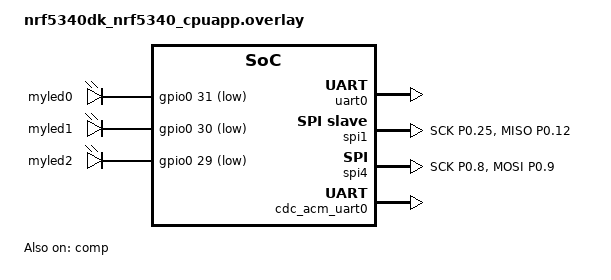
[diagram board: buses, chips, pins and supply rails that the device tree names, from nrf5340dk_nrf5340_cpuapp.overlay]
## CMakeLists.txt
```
cmake_minimum_required(VERSION 3.20.0)
find_package(Zephyr REQUIRED HINTS $ENV{ZEPHYR_BASE})

project(Nordic)

file(GLOB_RECURSE LIBCORRECT_FILES_C "libcorrect/*.c")
file(GLOB_RECURSE LIBCORRECT_FILES_H "libcorrect/*.h")


target_sources(app PRIVATE 
                            src/main.c 
                            src/peripheral-controllers/signals/spim_controller.h src/peripheral-controllers/signals/spim_controller.c 
                            src/peripheral-controllers/signals/gpiote_controller.h src/peripheral-controllers/signals/gpiote_controller.c 
                            src/peripheral-controllers/timing/timer_controller.h src/peripheral-controllers/timing/timer_controller.c 
                            src/peripheral-controllers/timing/dppi_controller.h src/peripheral-controllers/timing/dppi_controller.c 
                            src/common.h src/common.c 
                            src/peripheral-controllers/interfacing/gpio_controller.h src/peripheral-controllers/interfacing/gpio_controller.c 
                            src/buffer.h src/buffer.c 
                            src/manchester.h src/manchester.c
                            src/peripheral-controllers/input-detection/adc_controller.h src/peripheral-controllers/input-detection/adc_controller.c
                            src/peripheral-controllers/signals/spis_controller.h src/peripheral-controllers/signals/spis_controller.c
                            src/peripheral-controllers/interfacing/uarte_controller.h src/peripheral-controllers/interfacing/uarte_controller.c
                            src/peripheral-controllers/input-detection/lpcomp_controller.h src/peripheral-controllers/input-detection/lpcomp_controller.c
                            ${LIBCORRECT_FILES_C}
                            ${LIBCORRECT_FILES_H}
                )
```

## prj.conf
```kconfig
CONFIG_GPIO=y

CONFIG_NRFX_SPIS1=y
CONFIG_NRFX_SPIS2=n
CONFIG_NRFX_SPIS3=n
CONFIG_NRFX_SPIM4=y

CONFIG_NRFX_TIMER0=n
CONFIG_NRFX_TIMER1=y
CONFIG_NRFX_TIMER2=n
CONFIG_NRFX_GPIOTE=y
CONFIG_NRFX_DPPI=y
CONFIG_NRFX_SAADC=n
CONFIG_NRFX_LPCOMP=y

CONFIG_PWM=n
CONFIG_NRFX_QSPI=n
CONFIG_NRFX_TWIM0=n
CONFIG_NRFX_TWIM1=n
CONFIG_NRFX_TWIM2=n
CONFIG_NRFX_TWIM3=n
CONFIG_NRFX_UARTE0=y
CONFIG_NRFX_UARTE1=n

# Power efficiency:
CONFIG_PM=y
CONFIG_PM_DEVICE=y
CONFIG_PM_DEVICE_RUNTIME=y
CONFIG_REGULATOR=y

CONFIG_BOARD_ENABLE_DCDC_NET=y
CONFIG_BOARD_ENABLE_DCDC_APP=y
CONFIG_BOARD_ENABLE_DCDC_HV=y


# User Interface:
CONFIG_STDOUT_CONSOLE=y
CONFIG_USB_DEVICE_STACK=y
CONFIG_USB_DEVICE_PRODUCT="Zephyr CDC ACM sample"
CONFIG_USB_DEVICE_PID=0x0001
CONFIG_LOG=y
CONFIG_USB_DRIVER_LOG_LEVEL_ERR=y
CONFIG_USB_DEVICE_LOG_LEVEL_ERR=y
CONFIG_SERIAL=y
CONFIG_UART_INTERRUPT_DRIVEN=y
CONFIG_UART_LINE_CTRL=y
CONFIG_USB_DEVICE_INITIALIZE_AT_BOOT=n
```

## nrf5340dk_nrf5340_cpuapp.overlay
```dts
// To get started, press Ctrl+Space to bring up the completion menu and view the available nodes.

// You can also use the buttons in the sidebar to perform actions on nodes.
// Actions currently available include:

// * Enabling / disabling the node
// * Adding the bus to a bus
// * Removing the node
// * Connecting ADC channels

// For more help, browse the DeviceTree documentation at https://docs.zephyrproject.org/latest/guides/dts/index.html
// You can also visit the nRF DeviceTree extension documentation at https://nrfconnect.github.io/vscode-nrf-connect/devicetree/nrfdevicetree.html


&uart0 {
    status = "okay";
};

&uart1 {
    status = "disabled";
};


&pinctrl {
    spis1_default: spis1_default {
        group1 {
            psels = <NRF_PSEL(SPIS_SCK, 0, 25)>,
                <NRF_PSEL(SPIS_MISO, 0, 12)>;
        };
    };

    spi_master_default: spi_master_default {
        group1 {
            psels = <NRF_PSEL(SPIM_SCK, 0, 8)>,
                <NRF_PSEL(SPIM_MOSI, 0, 9)>;
        };
    };
};

&spi1 {
    status = "okay";
    compatible = "nordic,nrf-spis";
    pinctrl-0 = <&spis1_default>;
    def-char = <0x00>;
};

&spi4 {
    status = "okay";
    compatible = "nordic,nrf-spim";
    pinctrl-0 = <&spi_master_default>;
};

&i2c1 {
    status = "disabled";
};

&comp {
    compatible = "nordic,nrf-lpcomp";
    status = "okay";
};

// User Interface:
&zephyr_udc0 {
	cdc_acm_uart0 {
		compatible = "zephyr,cdc-acm-uart";
	};
};

/ {
    aliases {
            shut1 = &myled0;
            shut2 = &myled1;
            shut3 = &myled2;
    };

    leds {
            compatible = "gpio-leds";
            myled0: led_0 {
                    gpios = <&gpio0 31 GPIO_ACTIVE_LOW>;
            };
            myled1: led_1 {
                gpios = <&gpio0 30 GPIO_ACTIVE_LOW>;
            };
            myled2: led_2 {
                gpios = <&gpio0 29 GPIO_ACTIVE_LOW>;
            };
                
        };
};
```

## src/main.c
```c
#include <zephyr/kernel.h>
#include <zephyr/pm/device.h>
#include <zephyr/pm/pm.h>
#include <zephyr/pm/policy.h>
#include <zephyr/drivers/gpio.h>
#include <nrfx_clock.h>
#include <zephyr/device.h>
#include <zephyr/sys/util.h>
#include <inttypes.h>
#include <nrf5340_application.h>

#include "peripheral-controllers/signals/spim_controller.h"
#include "peripheral-controllers/signals/spis_controller.h"
#include "peripheral-controllers/timing/timer_controller.h"
#include "peripheral-controllers/interfacing/gpio_controller.h"
#include "peripheral-controllers/signals/gpiote_controller.h"
#include "peripheral-controllers/timing/dppi_controller.h"
#include "manchester.h"
#include "peripheral-controllers/input-detection/adc_controller.h"
#include "peripheral-controllers/interfacing/uarte_controller.h"
#include "peripheral-controllers/input-detection/lpcomp_controller.h"

// Message setup
char message[] = "Hello World!";
uint8_t length_message = 12;

// char message[] = "Testing right now!";
// uint8_t length_message = 18;

// #define LED

// Speed configuration
#define SINGLE_SPEED 8
#ifdef HIGH_SPEED
#define DOUBLE_SPEED 16
#else
#define DOUBLE_SPEED 8
#endif

// GPIO Pin assignments
#define LED_CTRL 30
#define CSN_PIN  6

#define SCTRL_PIN_CLK  8
#define SCTRL_PIN 9

#define DRC_S_PIN_CLK  25
#define DRC_S_CSN_PIN  26
#define DRC_S_PIN 12

// Shutdown pin
#define Shutdown1 31

// Function prototypes for handling timers and SPI. Also the functions to turn off/on the LED. 
static void timer_handler(nrf_timer_event_t event_type, void * p_context);
static void spis_handler(nrfx_spis_evt_t const * p_event, void * p_context);
void turn_off_DMD(void);
void turn_on_DMD(void);
void turn_off_LED(void);
void turn_on_LED(void);
void turn_DMD_fully_off(void);

const nrfx_timer_t timer1 = NRFX_TIMER_INSTANCE(1);

timer_instance timer_trigger_dmd_toggle = TIMER_DEFAULT_INSTANCE(NRFX_TIMER_INSTANCE(1), NRF_TIMER_CC_CHANNEL0, NRF_TIMER_SHORT_COMPARE0_CLEAR_MASK, NRF_TIMER_EVENT_COMPARE0);

nrfx_spis_t spis1 = NRFX_SPIS_INSTANCE(1);
spis_instance spis_drc_s = SPIS_DEFAULT_INSTANCE(DRC_S_PIN, DRC_S_PIN_CLK, DRC_S_CSN_PIN, spis_handler, &spis1, tx_sac_b_buffer);

nrfx_spim_t spim_sctrl = NRFX_SPIM_INSTANCE(4);
spim_instance_config spim_sctrl_config = SPIM_DEFAULT_INSTANCE(SCTRL_PIN, SCTRL_PIN_CLK, DOUBLE_SPEED, NULL, NRFX_SPIM_FLAG_REPEATED_XFER | NRFX_SPIM_FLAG_NO_XFER_EVT_HANDLER | NRFX_SPIM_FLAG_HOLD_XFER);

uint8_t dppi_channel_spi;
uint8_t led_channel; 
uint8_t loadb_channel;
uint8_t dppi_loadb_channel;

// Flags to manage LED and DMD states
bool led_paused = true;
volatile bool dmd_paused = true;

bool end_of_message = false;

#define SW0_NODE	DT_ALIAS(sw0)
static struct gpio_dt_spec button = GPIO_DT_SPEC_GET_OR(SW0_NODE, gpios, {0});
static struct gpio_callback cb;

#define SHUT1 DT_ALIAS(shut1)
static const struct gpio_dt_spec shdn1 = GPIO_DT_SPEC_GET(SHUT1, gpios);

#define SHUT2 DT_ALIAS(shut2)
static const struct gpio_dt_spec shdn2 = GPIO_DT_SPEC_GET(SHUT2, gpios);

#define SHUT3 DT_ALIAS(shut3)
static const struct gpio_dt_spec shdn3 = GPIO_DT_SPEC_GET(SHUT3, gpios);


/**
 * Interrupt handler of SPIS instance.
 * Toggles buffers for DMD, and sets SPIS buffer.
 */
static void spis_handler(nrfx_spis_evt_t const * p_event, void * p_context)
{
    if(p_event->evt_type == NRFX_SPIS_XFER_DONE) {
        spis_instance* temp = p_context;
        
        toggle_sent_signal(LED_CTRL);
        nrfx_spis_buffers_set(temp->spis_inst, temp->tx_buffer, SAC_B_BUFFER_SIZE, NULL, 0);
    }
}


/**
 * Interrupt Handler of Timer instance.
 * Sets new compare value for Timer, tests if DMD needs to be turned on/off, 
 * and selects new compare value.
*/
static void timer_handler(nrf_timer_event_t event_type, void * p_context)
{
    if(event_type == NRF_TIMER_EVENT_COMPARE0)  
    {
        nrfx_timer_extended_compare(&timer_trigger_dmd_toggle.timer, NRF_TIMER_CC_CHANNEL0, factor_periods[current_period_index], NRF_TIMER_SHORT_COMPARE0_CLEAR_MASK, true);   
        end_of_message = toggle_dmd(messages_paused);
    }
}

void button_pressed(const struct device *dev, struct gpio_callback *cb, uint32_t pins)
{
    messages_paused = false;  
}

/**
 * Turns off all peripherals that are used to send signals to DMD.
 * Can occur to pause in between messages, or because PD senses too little light.
*/
void turn_off_DMD(void)
{
    if(dmd_paused) return;
    dmd_paused = true;

    nrfx_timer_pause(&timer_trigger_dmd_toggle.timer);
    nrfx_timer_disable(&timer_trigger_dmd_toggle.timer);

    nrfx_gpiote_out_task_disable(CSN_PIN);

    // //! DRC_STROBE - SPIM4 + DPPI + TIMER
    nrfx_spim_abort(&spim_sctrl);
    nrfx_gppi_channel_endpoints_clear(dppi_loadb_channel, nrfx_spim_start_task_address_get(&spim_sctrl), nrfx_timer_event_address_get(&timer1, NRF_TIMER_EVENT_COMPARE0));
    disable_dppi(dppi_channel_spi, nrfx_gpiote_set_task_address_get(CSN_PIN), nrfx_spim_end_event_address_get(&spim_sctrl));
    disable_dppi(dppi_loadb_channel, nrfx_gpiote_clr_task_address_get(CSN_PIN), nrfx_spim_start_task_address_get(&spim_sctrl));
}

/**
 * Turns on all peripherals that are used to send signals to DMD.
*/
void turn_on_DMD(void)
{
    if(!dmd_paused) return;
    dmd_paused = false;

    set_timer(timer_trigger_dmd_toggle, US_BETWEEN_BITS, true);

    //! DRC_STROBE - SPIM4 + DPPI + TIMER
    spim_change_buffer(spim_sctrl, spim_sctrl_config, tx_drc_b_buffer, DATA_BUFFER_SIZE);

    setup_dppi(dppi_loadb_channel, nrfx_spim_start_task_address_get(&spim_sctrl), nrfx_timer_event_address_get(&timer1, NRF_TIMER_EVENT_COMPARE0));

    setup_dppi(dppi_loadb_channel, nrfx_gpiote_clr_task_address_get(CSN_PIN), nrfx_spim_start_task_address_get(&spim_sctrl));
    setup_dppi(dppi_channel_spi, nrfx_gpiote_set_task_address_get(CSN_PIN), nrfx_spim_end_event_address_get(&spim_sctrl));

    //! DRC_BUS - SPIS + DPPI + GPIOTE
    nrfx_gpiote_out_task_enable(CSN_PIN);

    if(!nrfx_timer_is_enabled(&timer1)) nrfx_timer_enable(&timer1);
}

void turn_DMD_fully_off(void)
{
    nrfx_gppi_channel_endpoints_clear(dppi_loadb_channel, nrfx_spim_start_task_address_get(&spim_sctrl), nrfx_timer_event_address_get(&timer1, NRF_TIMER_EVENT_COMPARE0));
    disable_dppi(dppi_channel_spi, nrfx_gpiote_set_task_address_get(CSN_PIN), nrfx_spim_end_event_address_get(&spim_sctrl));
    disable_dppi(dppi_loadb_channel, nrfx_gpiote_clr_task_address_get(CSN_PIN), nrfx_spim_start_task_address_get(&spim_sctrl));

    nrfx_timer_pause(&timer_trigger_dmd_toggle.timer);
    nrfx_timer_disable(&timer_trigger_dmd_toggle.timer);
    nrfx_timer_uninit(&timer_trigger_dmd_toggle.timer);

    nrfx_spim_abort(&spim_sctrl);
    nrfx_spim_uninit(&spim_sctrl);
    nrfx_spis_uninit(&spis1);

    nrfx_gpiote_out_task_disable(CSN_PIN);
    nrfx_gpiote_pin_uninit(CSN_PIN);
    nrfx_gpiote_uninit();
}

void Power_up_DMD_sequence(void) {
    int ret;

    // Initialize the shutdown pins
    if (!gpio_is_ready_dt(&shdn1)) {
		return 0;
	}

	ret = gpio_pin_configure_dt(&shdn1, GPIO_OUTPUT_ACTIVE);
	if (ret < 0) {
		return 0;
	}

    if (!gpio_is_ready_dt(&shdn2)) {
		return 0;
	}

	ret = gpio_pin_configure_dt(&shdn2, GPIO_OUTPUT_ACTIVE);
	if (ret < 0) {
		return 0;
	}

    if (!gpio_is_ready_dt(&shdn3)) {
		return 0;
	}
    ret = gpio_pin_configure_dt(&shdn3, GPIO_OUTPUT_ACTIVE);
	if (ret < 0) {
		return 0;
	}

    if (ret < 0) {
		return 0;
	}

    // Wait till VCC is stable before activating the shutdown pins
    k_msleep(5000);

    ret = gpio_pin_toggle_dt(&shdn1);
    if (ret < 0) {
        return 0;
    }

    ret = gpio_pin_toggle_dt(&shdn2);
    if (ret < 0) {
        return 0;
    }

    ret = gpio_pin_toggle_dt(&shdn3);
    if (ret < 0) {
        return 0;
    }

    // Wait till the DMD is correctly started before transmitting data
    k_msleep(5000);
}

int main(void)
{

    // //! Setup for the shutdown pin to for the correct start of the DMD
    Power_up_DMD_sequence();

    //! Set clock to high frequency
    #ifdef HIGH_SPEED
    nrfx_clock_divider_set(NRF_CLOCK_DOMAIN_HFCLK, NRF_CLOCK_HFCLK_DIV_1);
    #endif

    #ifdef USER_INTERFACE
    //! Start User Interface
    start_uarte();
    #endif   

    //! Construct frame, and shift buffers
    construct_frame(message, length_message);
    shift_right(tx_sac_b_buffer, SAC_B_BUFFER_SIZE, 2);

    //! Setup button
    setup_gpio_dt(&button, GPIO_INPUT);
    setup_button(&button, button_pressed, &cb);
    
    // configure_lpcomp();
    // ! Enable peripheral interrupts
    #if defined(__ZEPHYR__)
        IRQ_DIRECT_CONNECT(NRFX_IRQ_NUMBER_GET(NRF_SPIS_INST_GET(1)), IRQ_PRIO_LOWEST,
                    NRFX_SPIS_INST_HANDLER_GET(1), 0);
        IRQ_DIRECT_CONNECT(NRFX_IRQ_NUMBER_GET(NRF_TIMER_INST_GET(1)), IRQ_PRIO_LOWEST,
                    NRFX_TIMER_INST_HANDLER_GET(1), 0);       
    #endif

    //! Initialise peripherals
    nrfx_gpiote_init(GPIOTE_INTERRUPT_PRIORITY);
    
    //! TRIGGER - Set up trigger for US_BETWEEN_BITS clock pulses
    init_timer(timer1, timer_handler, 1000000);
    set_timer(timer_trigger_dmd_toggle, US_BETWEEN_BITS, true);

    //! SCTRL - SPIM4
    spim_init(spim_sctrl, spim_sctrl_config, tx_drc_b_buffer, DATA_BUFFER_SIZE);

    setup_gpiote_toggle(CSN_PIN, NRF_GPIOTE_INITIAL_VALUE_HIGH);
    nrfx_gpiote_out_task_trigger(CSN_PIN);

    // nrfx_lpcomp_enable();
    spis_init(spis1,  spis_drc_s, tx_sac_b_buffer, SAC_B_BUFFER_SIZE);
    dppi_loadb_channel = allocate_dppi_channel();
    dppi_channel_spi = allocate_dppi_channel();
    if(dmd_on) turn_on_DMD();  

    k_msleep(1000);
    // messages_paused = false;
    char rgb_c[4];
    rgb_c[0] = '#';
    rgb_c[1] = 254;
    rgb_c[2] = 0;
    rgb_c[3] = 0;

    // If RGB setting is not on it will just sleep all the time (Except for all the interrupts)
    while(!rgb_case) {
        k_msleep(2000);
    }
    printk("Hello RGB!\n");

    while (true) {
        while(rgb_c[1] > 0) {
            while(!messages_paused){k_usleep(100);}
            construct_frame(rgb_c, 4);
            rgb_c[1] -= 2;
            rgb_c[2] += 2;
        }
        while(rgb_c[2] > 0) {
            while(!messages_paused){k_usleep(100);}
            construct_frame(rgb_c, 4);
            rgb_c[2] -= 2;
            rgb_c[3] += 2;
        }
        while(rgb_c[3] > 0) {
            while(!messages_paused){k_usleep(100);}
            construct_frame(rgb_c, 4);
            rgb_c[3] -= 2;
            rgb_c[1] += 2;
        }
    }

    return 0;
}
```

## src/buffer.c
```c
#include "buffer.h"

uint8_t tx_sctrl_buffer[] = {0xFF, 0xF3, 0x43};
uint8_t tx_loadb_buffer[] = {0xFF, 0x7F, 0xFF};

//                                               3                 6                                         
uint8_t tx_drc_b_0[] =      {0xFF, 0xFF, 0xFF, 0x86, 0x7F, 0xFF, 0x80, 0x7F, 0xFE, 0x05, 0xFF, 0xFF, 0xFF, 0XFF}; 
uint8_t tx_drc_b_1[] =      {0XFF, 0xFF, 0xFF, 0xC6, 0x7F, 0xFF, 0xC0, 0x7F, 0xFF, 0x05, 0xFF, 0xFF, 0xFF, 0XFF}; 
uint8_t tx_drc_b_buffer[] = {0XFF, 0xFF, 0xFF, 0x86, 0x7F, 0xFF, 0x80, 0x7F, 0xFE, 0x05, 0xFF, 0xFF, 0xFF, 0XFF};
                                                                                                    
//                                  1                                                           11
uint8_t tx_drc_s_0[] =      {0xFF, 0x01, 0xFF, 0xFF, 0xFF, 0xFF, 0xFF, 0xFF, 0xFF, 0xFF, 0xFF, 0xFE, 0x01, 0XFF}; 
uint8_t tx_drc_s_1[] =      {0XFF, 0x81, 0xFF, 0xFF, 0xFF, 0xFF, 0xFF, 0xFF, 0xFF, 0xFF, 0xFF, 0xFF, 0x01, 0XFF}; 
uint8_t tx_drc_s_buffer[] = {0XFF, 0x01, 0xFF, 0xFF, 0xFF, 0xFF, 0xFF, 0xFF, 0xFF, 0xFF, 0xFF, 0xFE, 0x01, 0XFF}; 

uint8_t tx_sac_b_buffer[] = {0x00, 0x00, 0x00, 0x80, 0x00, 0x00, 0x80, 0x00, 0x02, 0x00, 0x00, 0x00, 0x00, 0x00};


void shift_right(uint8_t *arr, int size, int shift) 
{
    while (shift--) {
        for (int i = size - 1; i > 0; --i) {
            int carry = (arr[i-1] & 1) ? 0x80 : 0;
            arr[i] = carry | (arr[i] >> 1);
        }
		arr[0] = (arr[0] >> 1) | 0b00000000;
    }
} 
```

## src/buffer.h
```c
#pragma once

#include <inttypes.h>

#define RESET_BUFFER_SIZE 5
#define SCTRL_BUFFER_SIZE 3
#define LOADB_BUFFER_SIZE 3
#define DATA_BUFFER_SIZE 14
#define SAC_B_BUFFER_SIZE 14

extern uint8_t tx_sctrl_buffer[SCTRL_BUFFER_SIZE];
extern uint8_t tx_loadb_buffer[LOADB_BUFFER_SIZE];

extern uint8_t tx_drc_b_0[DATA_BUFFER_SIZE];
extern uint8_t tx_drc_b_1[DATA_BUFFER_SIZE];
extern uint8_t tx_drc_b_buffer[DATA_BUFFER_SIZE];
                                                                                                    
extern uint8_t tx_drc_s_0[DATA_BUFFER_SIZE];
extern uint8_t tx_drc_s_1[DATA_BUFFER_SIZE];
extern uint8_t tx_drc_s_buffer[DATA_BUFFER_SIZE];

extern uint8_t tx_sac_b_buffer[SAC_B_BUFFER_SIZE];

/**
 * @brief Shifts the array to the right. 
 *        1's are shifted in from the left.
 * 
 * @param[in] arr   The array that will be shifted.
 * @param[in] size  The size arr.
 * @param[in] shift The array is shifted by this amount.
 */
void shift_right(uint8_t *arr, int size, int shift);
```

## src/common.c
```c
#include "common.h"

volatile bool sending_0 = true;

void toggle_sent_signal(nrfx_gpiote_pin_t led_pin)
{
    if (sending_0)
    {
        if(nrfx_gpiote_in_is_set(led_pin)) nrfx_gpiote_clr_task_trigger(led_pin);
        sending_0 = false;
        tx_drc_b_buffer[3] = tx_drc_b_0[3];
        tx_drc_b_buffer[6] = tx_drc_b_0[6];
        tx_drc_b_buffer[8] = tx_drc_b_0[8];
    } 
    else 
    {
        if(!nrfx_gpiote_in_is_set(led_pin)) nrfx_gpiote_set_task_trigger(led_pin);

        sending_0 = true;
        tx_drc_b_buffer[3] = tx_drc_b_1[3];
        tx_drc_b_buffer[6] = tx_drc_b_1[6];
        tx_drc_b_buffer[8] = tx_drc_b_1[8];
    }
}

void setup_button(struct gpio_dt_spec *button, gpio_callback_handler_t ih, struct gpio_callback *cb)
{   
    int ret = gpio_pin_interrupt_configure_dt(button, GPIO_INT_EDGE_TO_ACTIVE);
	if (ret != 0) {
		printk("Error failed to configure button interrupt");
		return;
	}

	gpio_init_callback(cb, ih, BIT(button->pin));
	gpio_add_callback(button->port, cb);
}
```

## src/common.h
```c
#pragma once 

#include <inttypes.h>
#include <zephyr/kernel.h>
#include <zephyr/drivers/gpio.h>
#include <nrfx_clock.h>
#include <zephyr/device.h>
#include <zephyr/sys/util.h>
#include <nrfx_gpiote.h>

#include "peripheral-controllers/timing/timer_controller.h"
#include "buffer.h"

// USER_INTERFACE: enables the use of the nRF Connect Serial Terminal through UART.
// #define USER_INTERFACE

// INFINITE: the same message is sent on repeat, no pause or waiting for new input.
#define INFINITE

// Number of messages to send
// #define NUMBER_OF_MESSAGES_TO_SEND 5000

// HIGH_SPEED: for speeds that require a higher clock rate.
// #define HIGH_SPEED

#define US_BETWEEN_BITS 500000

#define NR_PULSES_BETWEEN_CONSECUTIVE_MESSAGES 6 // ! Needs to be even !
#define US_PULSES_BETWEEN_CONSECUTIVE_MESSAGES (2*US_BETWEEN_BITS)


#define BITS_PREAMBLE 8
#define BITS_LENGTH 8
#define BYTES_RS 17
#define BYTES_FRAME (BITS_PREAMBLE / 8) + (BITS_LENGTH / 8) + BYTES_RS
#define MANCHESTER_BYTES_FRAME ((BYTES_FRAME - (BITS_PREAMBLE / 8)) * 2) + (BITS_PREAMBLE / 8)

extern volatile bool sending_0;
extern char message[];
extern uint8_t length_message;

/**
 * @brief   Swaps out the part of the buffers that sends signals to the DMD, to toggle the DMD.
 *          Also toggles LED if necessary.
 * 
 * @param[in] led_pin     The pin of the LED.
 */
void toggle_sent_signal(nrfx_gpiote_pin_t led_pin);

/**
 * @brief   Setup a button with interrupt handler and gpio callback.
 * 
 * @param[in] button    The gpio_dt_spec of the button that needs to be configured.
 * @param[in] ih        The interrupt handler that is called when the button is pressed.
 * @param[in] cb        The gpio callback for the button.
 */
void setup_button(struct gpio_dt_spec *button, gpio_callback_handler_t ih, struct gpio_callback *cb);
```

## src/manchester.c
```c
#include "manchester.h"

char frame[2000];

volatile uint32_t factor_periods[10000];
uint16_t factor_periods_length = 0;
volatile uint16_t current_period_index = 0;
uint32_t messages_send_started = 0;

volatile bool rgb_case = true;


void construct_frame(char * msg, uint8_t len) {

    if (!rgb_case && msg[0] == '#') {
        if(memcmp(msg, "#rgb", 4) == 0) {
            rgb_case = true;
            msg[0] = '#';
            msg[0] = 255;
            msg[0] = 0;
            msg[0] = 0;
        } else {
            msg[0] = '#';
            char* token;
            token = strtok(msg + 1, ", ");
            msg[1] = atoi(token);
            for(int i = 2; i < 4; i++) {
                token = strtok(NULL, ", ");
                msg[i] = atoi(token);
            }
        }
        len = 4;
    }

    memset(frame, 0, sizeof(frame));
    messages_paused = true;
    uint16_t frame_index = 0;

    // Add preamble to frame
    for(int i = 0; i < BITS_PREAMBLE; i+=8) {
        frame[frame_index++] = 0x71;
    }

    // Add length to frame
    uint16_t manchester_length = ook_to_manchester(len);
    frame[frame_index++] = manchester_length >> 8;
    frame[frame_index++] = manchester_length & 0x00FF; 

    // Add message to frame
    uint8_t message_RS[512];
    memset(message_RS, 0, sizeof(message_RS));
    for(int i = 0; i < len; i++) {
        message_RS[i] = msg[i];
    }

    static correct_reed_solomon* rs_code = NULL;
    if (rs_code == NULL) rs_code = correct_reed_solomon_create(correct_rs_primitive_polynomial_8_4_3_2_0, 1, 1, 4);
    int rs_bytes = correct_reed_solomon_encode(rs_code, (const uint8_t*) message_RS , (size_t) len, message_RS);

    // Add message and reed-solomon to frame
    for(int i = 0; i < len + rs_bytes; i++) {
        if(i >= len && message_RS[i] == 0) {
            rs_bytes = i - len;
            break;
        }
        uint16_t manchester_char = ook_to_manchester(message_RS[i]);
        frame[frame_index++] = manchester_char >> 8;
        frame[frame_index++] = manchester_char & 0x00FF; 
    }

    construct_pauses(frame_index);
}

void construct_pauses(uint32_t size_of_frame) 
{
    uint16_t periods_index = 0;
    uint32_t byte_index = 0;
    uint8_t bit_index = 7;
    while(byte_index < size_of_frame) {
        // Extract bit and compare to next bit to decide to send for 1 or 2 periods
        uint8_t extracted_bit = frame[byte_index] & (1 << bit_index);
        uint8_t next_bit = extracted_bit;
        uint8_t periods_counter = 0;
        while(((extracted_bit && next_bit) || !(extracted_bit || next_bit)) 
                && (byte_index < size_of_frame)) {
            if(bit_index == 0) bit_index = 7;
            else bit_index = bit_index - 1;
            byte_index = (byte_index + (bit_index == 7));
            next_bit = (byte_index == size_of_frame)? !extracted_bit : frame[byte_index] & (1 << bit_index);
            periods_counter++;
        }
        if (periods_counter == 0 || periods_counter > 5) {
            printk("Found weird period in a message (period factor %d periods at index %d)\n", periods_counter, periods_index);
        }
        factor_periods[periods_index++] = periods_counter * US_BETWEEN_BITS;
    }
    
    // To make sure it starts with the right symbol
    factor_periods_length = periods_index;
    current_period_index = periods_index;
    messages_send_started = 0;
    factor_periods[factor_periods_length] = US_PULSES_BETWEEN_CONSECUTIVE_MESSAGES;
    messages_paused = false;
}

bool toggle_dmd(bool paused)
{
    static uint32_t count_down_to_next_msg = 0;

    // If there are no messages.
    if(paused) 
    {
        return true;
    }

    // If we are at the end of a frame.
    if(current_period_index < factor_periods_length) 
    {
        current_period_index++;
        return false;
    }

    #ifndef INFINITE
    // If all messages were sent.
    if(messages_send_started >= NUMBER_OF_MESSAGES_TO_SEND)
    {
        messages_send_started = 0;
        messages_paused = true;
        current_period_index = factor_periods_length;
    } else {
    #endif
        // Count down for next message if applicable.
        if(count_down_to_next_msg == 0) 
        {
            if(sending_0) count_down_to_next_msg = NR_PULSES_BETWEEN_CONSECUTIVE_MESSAGES - 1;
            else          count_down_to_next_msg = NR_PULSES_BETWEEN_CONSECUTIVE_MESSAGES;
        } else {
            count_down_to_next_msg--;
            if(count_down_to_next_msg == 0) {
                current_period_index = 0;
                messages_send_started++;
            }
            return false;
        }
    #ifndef INFINITE
    }
    #endif
    return true;
}

uint16_t ook_to_manchester(uint8_t ook)
{
    uint16_t res = 0;

    for(int i = 7; i >= 0; i--) 
    {
        if(ook & (1 << i)) res ^= 1 <<  (2*i);      // The actual   bit
        else               res ^= 1 << ((2*i) + 1); // The opposite bit
    }
    return res;
}
```

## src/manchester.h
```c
#pragma once

#include <inttypes.h>
#include <stdbool.h>
#include <stdlib.h>
#include <stdio.h>
#include <string.h>
#include "common.h"
#include "peripheral-controllers/signals/spim_controller.h"
#include "peripheral-controllers/timing/timer_controller.h"

#include "../libcorrect/correct.h"

#include <zephyr/drivers/gpio.h>
#include "peripheral-controllers/input-detection/adc_controller.h"
#include "peripheral-controllers/interfacing/uarte_controller.h"

extern char frame[2000];
extern volatile uint16_t current_period_index;
extern volatile uint32_t factor_periods[10000];
extern volatile bool rgb_case;

/**
 * @brief Constructs the Manchester frame.
 */
void construct_frame(char * msg, uint8_t len);

/**
 * @brief Selects next compare value for Timer.
 * 
 * @param[in] paused True if there are no messages to be sent, false otherwise.
 * 
 * @param[out] end returns whether the end of the frame has been reached.
 */
bool toggle_dmd(bool paused);

/**
 * @brief Translates a byte of OOK to two bytes of Manchester.
 * 
 * @param[in] ook The byte of OOK.
 *
 * @param[out] manchester The two bytes of Manchester.
 */
uint16_t ook_to_manchester(uint8_t ook);

/**
 * @brief Increments bit_index and byte_index of the current message that is being sent.
 *        0 --> 1 0
 *        1 --> 0 1
 */
void construct_pauses(uint32_t size_of_frame);
```
